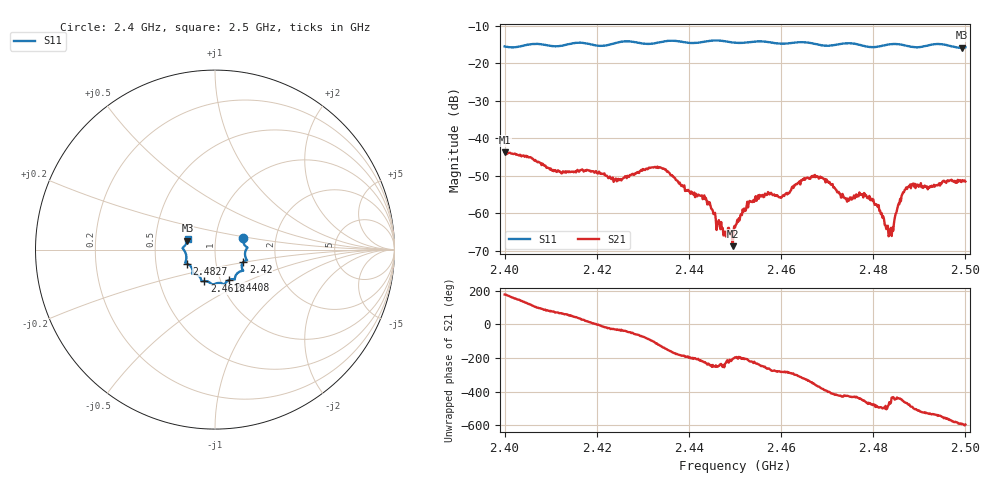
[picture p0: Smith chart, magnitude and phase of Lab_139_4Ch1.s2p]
# Hz S RI R 50
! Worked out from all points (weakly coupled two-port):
!   601 points, 2.4 GHz to 2.5 GHz, reference 50 ohm
!   highest |S21| = -43.78 dB at 2.4 GHz (marker M1); lowest = -68.8 dB at 2.4495 GHz (marker M2)
!   lowest |S11| = -15.8 dB at 2.4992 GHz (marker M3), VSWR 1.38, Z = 36.5 + j3.7 ohm
!   |S11| at or under -10 dB: start of sweep to end of sweep
!   S12 and S22 are empty: the file has one direction only
!   S11 on the Smith chart (normalised r, x): 2.4 GHz: 1.36, +0.17; 2.42 GHz: 1.36, -0.19; 2.4408 GHz: 1.10, -0.38; 2.4618 GHz: 0.84, -0.30; 2.4827 GHz: 0.72, -0.12; 2.5 GHz: 0.73, +0.09
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2.4e9  0.1559 0.0619  -0.00647 0.000335  0 0  0 0
2.416667e9  0.1781 -0.0595  0.00335 0.00176  0 0  0 0
2.42e9  0.1578 -0.0693  0.00346 -7.7e-05  0 0  0 0
2.424833e9  0.1545 -0.1128  0.0023 -0.00154  0 0  0 0
2.433333e9  0.112 -0.1521  -0.00208 -0.00344  0 0  0 0
2.440833e9  0.079 -0.1687  -0.00178 0.000602  0 0  0 0
2.444167e9  0.0554 -0.1899  -0.000862 0.00114  0 0  0 0
2.447667e9  0.0464 -0.1917  -0.000138 0.000521  0 0  0 0
2.4495e9  0.0328 -0.1865  -0.000331 0.000152  0 0  0 0
2.45e9  0.0279 -0.1859  -0.000622 0.000177  0 0  0 0
2.453167e9  -0.00234 -0.1917  -0.00113 0.000933  0 0  0 0
2.461833e9  -0.0601 -0.1754  0.000588 0.00179  0 0  0 0
2.466667e9  -0.0769 -0.1684  0.00301 0.000877  0 0  0 0
2.474333e9  -0.1261 -0.1353  0.000619 -0.00128  0 0  0 0
2.478667e9  -0.1273 -0.1078  -0.000426 -0.00155  0 0  0 0
2.482667e9  -0.157 -0.0778  -0.000389 -0.000575  0 0  0 0
2.483333e9  -0.1612 -0.0764  -0.000241 -0.00043  0 0  0 0
2.483833e9  -0.1633 -0.0757  -0.000174 -0.000615  0 0  0 0
2.485833e9  -0.1644 -0.0696  0.000247 -0.00154  0 0  0 0
2.4875e9  -0.1603 -0.0557  -0.000918 -0.00202  0 0  0 0
2.499167e9  -0.1536 0.0494  -0.00157 0.00208  0 0  0 0
2.5e9  -0.1517 0.0615  -0.00151 0.00218  0 0  0 0
